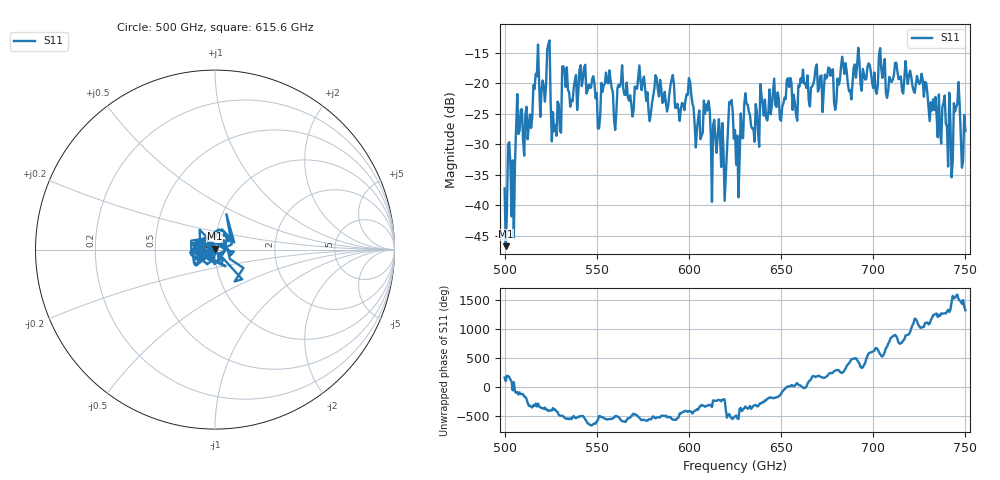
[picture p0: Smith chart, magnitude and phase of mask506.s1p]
!Created with skrf (http://scikit-rf.org).
# GHz S MA R 50.0
!freq magS11 angS11
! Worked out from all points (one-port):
!   401 points, 500 GHz to 750 GHz, reference 50 ohm
!   lowest |S11| = -46.7 dB at 500.6 GHz (marker M1), VSWR 1.01, Z = 49.9 + j0.456 ohm
!   |S11| at or under -10 dB: start of sweep to end of sweep
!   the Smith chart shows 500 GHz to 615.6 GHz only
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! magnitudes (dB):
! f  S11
! 500 GHz  -37.3
! 500.6 GHz  -46.7
! 503.1 GHz  -33.2
! 504.4 GHz  -32.7
! 508.1 GHz  -27.7
! 513.8 GHz  -25.1
! 516.9 GHz  -18.5
! 520.6 GHz  -19.6
! 523.8 GHz  -13.6
! 526.9 GHz  -27.9
! 531.2 GHz  -17.3
! 542.5 GHz  -19.3
! 550.6 GHz  -27.4
! 562.5 GHz  -20.6
! 593.8 GHz  -23.4
! 609.4 GHz  -23.5
! 618.8 GHz  -30.9
! 622.5 GHz  -23.3
! 625 GHz  -27.7
! 656.2 GHz  -24.4
! 676.9 GHz  -18.8
! 680 GHz  -23.1
! 683.8 GHz  -17.0
! 687.5 GHz  -21.1
! 718.8 GHz  -20.1
! 741.9 GHz  -26.4
! 745 GHz  -23.9
! 750 GHz  -27.9
